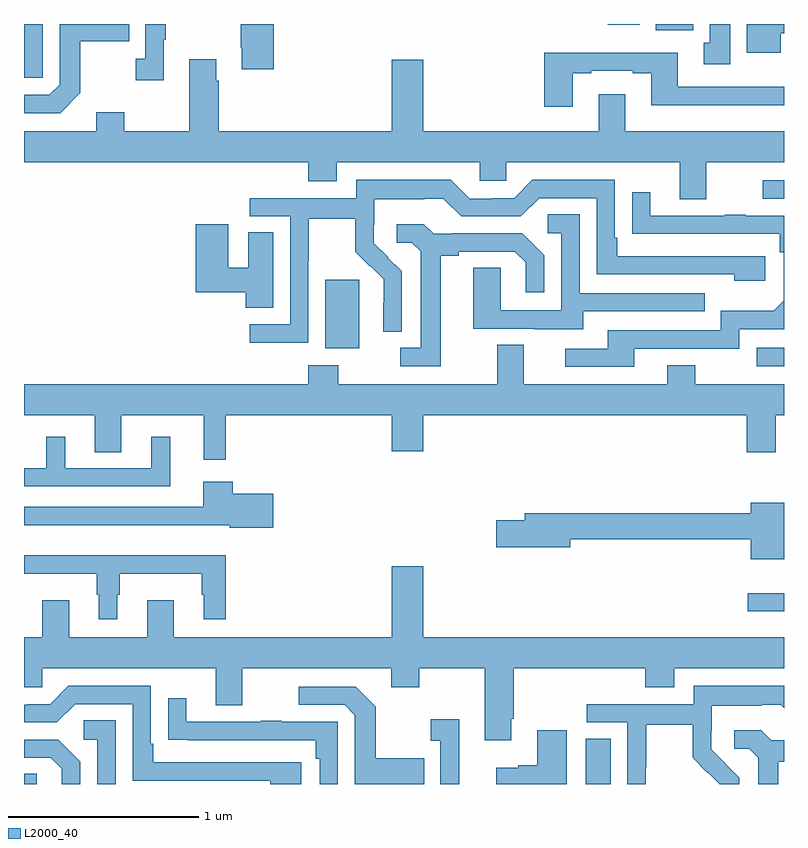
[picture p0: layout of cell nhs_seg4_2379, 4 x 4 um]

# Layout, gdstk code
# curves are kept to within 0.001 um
import gdstk
lib = gdstk.Library(unit=1e-6, precision=1e-09)
def R(c, l, rs):  # rectangles x0, y0, x1, y1
    for r in rs: c.add(gdstk.rectangle(r[:2], r[2:], *l))
def P(c, l, *ps):  # polygons
    for p in ps: c.add(gdstk.Polygon(p, *l))
L2000_40 = (2000, 40)

nhs_seg4_2379 = lib.new_cell('nhs_seg4_2379')
R(nhs_seg4_2379, L2000_40, [(235,774.9,235.068,774.953), (237.956,774.9,238.087,775.139), (238.809,775.808,239,775.905), (238.857,777.099,239,777.195), (236.585,777.194,236.764,777.555), (238.887,777.981,239,778.077), (238.325,778.868,238.522,778.9), (238.073,778.896,238.24,778.9)])
P(nhs_seg4_2379, L2000_40, [(235.735,778.817),(235.747,778.817),(235.747,778.9),(235.638,778.9),(235.638,778.718),(235.587,778.718),(235.587,778.605),(235.735,778.605)],
  [(236.315,778.9),(236.14,778.9),(236.14,778.774),(236.147,778.774),(236.147,778.662),(236.315,778.662)],
  [(238.717,778.9),(238.61,778.9),(238.61,778.802),(238.577,778.802),(238.577,778.689),(238.717,778.689)],
  [(238.984,778.852),(239,778.852),(239,778.9),(238.805,778.9),(238.805,778.748),(238.984,778.748)],
  [(235.098,778.9),(235.002,778.9),(235.002,778.81),(235,778.81),(235,778.617),(235.098,778.617)],
  [(235.297,778.537),(235.297,778.81),(235.553,778.81),(235.553,778.9),(235.188,778.9),(235.188,778.581),(235.134,778.527),(235,778.527),(235,778.431),(235.191,778.431)],
  [(237.889,778.641),(237.985,778.641),(237.985,778.653),(238.205,778.653),(238.205,778.641),(238.301,778.641),(238.301,778.472),(239,778.472),(239,778.569),(238.441,778.569),(238.441,778.75),(237.737,778.75),(237.737,778.464),(237.889,778.464)],
  [(238.591,778.172),(239,778.172),(239,778.336),(238.165,778.336),(238.165,778.531),(238.025,778.531),(238.025,778.336),(237.1,778.336),(237.1,778.711),(236.936,778.711),(236.936,778.336),(236.024,778.336),(236.024,778.601),(236.011,778.601),(236.011,778.714),(235.871,778.714),(235.871,778.336),(235.527,778.336),(235.527,778.435),(235.379,778.435),(235.379,778.336),(235,778.336),(235,778.172),(236.495,778.172),(236.495,778.073),(236.647,778.073),(236.647,778.172),(237.399,778.172),(237.399,778.074),(237.537,778.074),(237.537,778.172),(238.451,778.172),(238.451,777.978),(238.591,777.978)],
  [(236.496,777.652),(236.499,777.652),(236.499,777.876),(236.743,777.876),(236.743,777.701),(236.82,777.624),(236.823,777.627),(236.894,777.557),(236.894,777.434),(236.892,777.434),(236.892,777.28),(236.988,777.28),(236.988,777.598),(236.842,777.746),(236.842,777.843),(236.844,777.843),(236.844,777.977),(237.107,777.977),(237.107,777.981),(237.207,777.981),(237.3,777.888),(237.615,777.888),(237.711,777.984),(238.014,777.984),(238.014,777.582),(238.739,777.582),(238.739,777.548),(238.9,777.548),(238.9,777.678),(238.123,777.678),(238.123,777.775),(238.11,777.775),(238.11,778.08),(237.675,778.08),(237.579,777.984),(237.461,777.984),(237.461,777.981),(237.345,777.981),(237.245,778.081),(236.748,778.081),(236.748,777.984),(236.187,777.984),(236.187,777.888),(236.4,777.888),(236.4,777.321),(236.187,777.321),(236.187,777.223),(236.496,777.223)],
  [(238.213,777.192),(238.764,777.192),(238.764,777.294),(239,777.294),(239,777.891),(238.799,777.891),(238.799,777.896),(238.687,777.896),(238.687,777.891),(238.297,777.891),(238.297,778.015),(238.201,778.015),(238.201,777.796),(238.978,777.795),(238.978,777.698),(238.998,777.698),(238.998,777.444),(238.945,777.391),(238.668,777.391),(238.668,777.288),(238.073,777.288),(238.073,777.192),(237.849,777.192),(237.849,777.096),(238.213,777.096)],
  [(237.943,777.387),(238.583,777.387),(238.583,777.483),(237.924,777.483),(237.924,777.899),(237.756,777.899),(237.756,777.798),(237.828,777.798),(237.828,777.393),(237.51,777.393),(237.51,777.617),(237.365,777.617),(237.365,777.297),(237.689,777.297),(237.689,777.293),(237.943,777.293)],
  [(236.311,777.803),(236.18,777.803),(236.18,777.616),(236.074,777.616),(236.074,777.847),(235.904,777.847),(235.904,777.487),(236.168,777.487),(236.168,777.406),(236.311,777.406)],
  [(237.193,777.68),(237.289,777.68),(237.289,777.702),(237.584,777.702),(237.641,777.645),(237.641,777.489),(237.738,777.489),(237.738,777.682),(237.622,777.798),(237.25,777.798),(237.25,777.795),(237.156,777.795),(237.104,777.847),(236.961,777.847),(236.961,777.75),(237.042,777.75),(237.089,777.703),(237.089,777.195),(236.979,777.195),(236.979,777.099),(237.193,777.099)],
  [(236.655,777.103),(236.495,777.103),(236.495,777.004),(235,777.004),(235,776.84),(235.373,776.84),(235.373,776.647),(235.513,776.647),(235.513,776.84),(235.946,776.84),(235.946,776.607),(236.063,776.607),(236.063,776.84),(236.936,776.84),(236.936,776.652),(237.1,776.652),(237.1,776.84),(238.805,776.84),(238.805,776.646),(238.957,776.646),(238.957,776.84),(239,776.84),(239,777.004),(238.533,777.004),(238.533,777.103),(238.385,777.103),(238.385,777.004),(237.631,777.004),(237.631,777.212),(237.491,777.212),(237.491,777.004),(236.655,777.004)],
  [(235.769,776.728),(235.67,776.728),(235.67,776.562),(235.216,776.562),(235.216,776.728),(235.118,776.728),(235.118,776.562),(235,776.562),(235,776.466),(235.769,776.466)],
  [(236.311,776.427),(236.099,776.427),(236.099,776.491),(235.943,776.491),(235.943,776.358),(235,776.358),(235,776.261),(236.082,776.261),(236.082,776.249),(236.311,776.249)],
  [(239,776.38),(238.826,776.38),(238.826,776.324),(237.635,776.324),(237.635,776.288),(237.486,776.288),(237.486,776.146),(237.874,776.146),(237.874,776.188),(238.826,776.188),(238.826,776.084),(239,776.084)],
  [(235.492,775.895),(235.504,775.895),(235.504,776.006),(235.935,776.006),(235.935,775.895),(235.946,775.895),(235.946,775.767),(236.063,775.767),(236.063,776.104),(235,776.104),(235,776.006),(235.383,776.006),(235.383,775.895),(235.394,775.895),(235.394,775.767),(235.492,775.767)],
  [(237.565,775.243),(237.578,775.243),(237.578,775.508),(238.271,775.508),(238.271,775.409),(238.423,775.409),(238.423,775.508),(239,775.508),(239,775.672),(237.1,775.672),(237.1,776.047),(236.936,776.047),(236.936,775.672),(235.789,775.672),(235.789,775.867),(235.649,775.867),(235.649,775.672),(235.237,775.672),(235.237,775.867),(235.097,775.867),(235.097,775.672),(235,775.672),(235,775.41),(235.095,775.41),(235.095,775.508),(236.009,775.508),(236.009,775.314),(236.149,775.314),(236.149,775.508),(236.933,775.508),(236.933,775.409),(237.081,775.409),(237.081,775.508),(237.425,775.508),(237.425,775.131),(237.565,775.131)],
  [(238.272,774.988),(238.275,774.988),(238.275,775.212),(238.519,775.212),(238.519,775.037),(238.596,774.96),(238.599,774.963),(238.663,774.9),(238.764,774.9),(238.764,774.934),(238.618,775.082),(238.618,775.179),(238.62,775.179),(238.62,775.313),(238.883,775.313),(238.883,775.317),(238.983,775.317),(239,775.3),(239,775.417),(238.524,775.417),(238.524,775.32),(237.963,775.32),(237.963,775.224),(238.176,775.224),(238.176,774.9),(238.272,774.9)],
  [(236.458,775.014),(235.681,775.014),(235.681,775.111),(235.668,775.111),(235.668,775.416),(235.233,775.416),(235.137,775.32),(235.019,775.32),(235.019,775.317),(235,775.317),(235,775.224),(235.173,775.224),(235.269,775.32),(235.572,775.32),(235.572,774.918),(236.297,774.918),(236.297,774.9),(236.458,774.9)],
  [(237.107,775.035),(236.851,775.035),(236.851,775.307),(236.745,775.413),(236.445,775.413),(236.445,775.317),(236.688,775.317),(236.742,775.263),(236.742,774.9),(237.107,774.9)],
  [(236.652,775.227),(236.357,775.227),(236.357,775.232),(236.245,775.232),(236.245,775.227),(235.855,775.227),(235.855,775.351),(235.759,775.351),(235.759,775.132),(235.861,775.132),(235.861,775.131),(236.536,775.131),(236.536,775.034),(236.556,775.034),(236.556,774.9),(236.652,774.9)],
  [(237.29,775.24),(237.141,775.24),(237.141,775.127),(237.192,775.127),(237.192,774.9),(237.29,774.9)],
  [(235.482,775.235),(235.314,775.235),(235.314,775.134),(235.386,775.134),(235.386,774.9),(235.482,774.9)],
  [(237.856,775.183),(237.701,775.183),(237.701,774.998),(237.602,774.998),(237.602,774.985),(237.486,774.985),(237.486,774.9),(237.856,774.9)],
  [(238.969,775.016),(239,775.016),(239,775.131),(238.932,775.131),(238.88,775.183),(238.737,775.183),(238.737,775.086),(238.818,775.086),(238.865,775.039),(238.865,774.9),(238.969,774.9)],
  [(235.296,775.018),(235.18,775.134),(235,775.134),(235,775.038),(235.142,775.038),(235.199,774.981),(235.199,774.9),(235.296,774.9)])

lib.write_gds('nhs_seg4_2379.gds')
